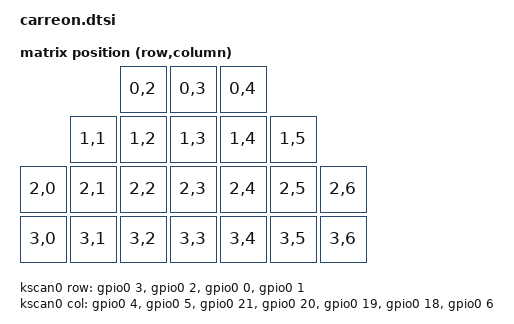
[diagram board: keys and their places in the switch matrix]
#include <dt-bindings/zmk/matrix_transform.h>

/ {
    chosen {
        zmk,kscan = &kscan0;                  // Keyboard scan driver
        zmk,matrix_transform = &default_transform;  // Matrix layout
    };

    // Key matrix transform (adjust rows/columns to match your PCB)
    default_transform: keymap_transform_0 {
        compatible = "zmk,matrix-transform";
        columns = <7>;  // Number of columns in your matrix
        rows = <4>;      // Number of rows in your matrix
        map = <
            0        0        RC(0,2)  RC(0,3)  RC(0,4)  0        0  // Row 0
            0        RC(1,1)  RC(1,2)  RC(1,3)  RC(1,4)  RC(1,5)  0  // Row 1
            RC(2,0)  RC(2,1)  RC(2,2)  RC(2,3)  RC(2,4)  RC(2,5)  RC(2,6)    // Row 2
            RC(3,0)  RC(3,1)  RC(3,2)  RC(3,3)  RC(3,4)  RC(3,5)  RC(3,6)    // Row 3
        >;
    };

    // Keyboard scan configuration (GPIO pins for rows/columns)
    kscan0: kscan {
        compatible = "zmk,kscan-gpio-matrix";
        diode-direction = "col2row";  // "row2col" if using row-to-column diodes

        // Column GPIO pins (adjust to match your PCB)
        col-gpios
            = <&gpio0 4 GPIO_ACTIVE_HIGH>   
            , <&gpio0 5 GPIO_ACTIVE_HIGH>   
            , <&gpio0 21 GPIO_ACTIVE_HIGH>
            , <&gpio0 20 GPIO_ACTIVE_HIGH>
            , <&gpio0 19 GPIO_ACTIVE_HIGH>
            , <&gpio0 18 GPIO_ACTIVE_HIGH>
            , <&gpio0 6 GPIO_ACTIVE_HIGH>                          // Add all columns
            ;

        // Row GPIO pins (adjust to match your PCB)
        row-gpios
            = <&gpio0 3 (GPIO_ACTIVE_HIGH | GPIO_PULL_DOWN)>  
            , <&gpio0 2 (GPIO_ACTIVE_HIGH | GPIO_PULL_DOWN)>  
            , <&gpio0 0 (GPIO_ACTIVE_HIGH | GPIO_PULL_DOWN)>
            , <&gpio0 1 (GPIO_ACTIVE_HIGH | GPIO_PULL_DOWN)>                                              // Add all rows
            ;
    };

};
